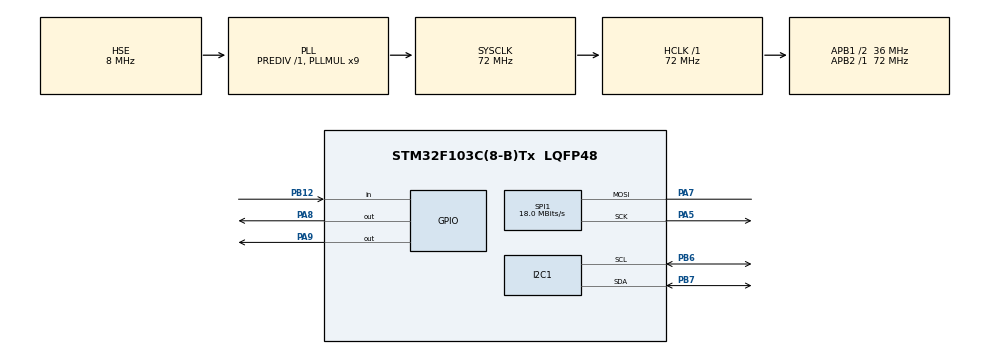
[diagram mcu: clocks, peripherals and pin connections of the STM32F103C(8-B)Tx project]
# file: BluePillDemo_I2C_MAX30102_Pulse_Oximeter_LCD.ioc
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Dma.Request0=SPI1_TX
Dma.SPI1_TX.0.Direction=DMA_MEMORY_TO_PERIPH
Dma.SPI1_TX.0.Instance=DMA1_Channel3
Dma.SPI1_TX.0.MemDataAlignment=DMA_MDATAALIGN_BYTE
Dma.SPI1_TX.0.MemInc=DMA_MINC_ENABLE
Dma.SPI1_TX.0.Mode=DMA_NORMAL
Dma.SPI1_TX.0.PeriphDataAlignment=DMA_PDATAALIGN_BYTE
Dma.SPI1_TX.0.PeriphInc=DMA_PINC_DISABLE
Dma.SPI1_TX.0.Priority=DMA_PRIORITY_LOW
I2C1.I2C_Mode=I2C_Fast
Mcu.Family=STM32F1
Mcu.Name=STM32F103C(8-B)Tx
Mcu.Package=LQFP48
NVIC.DMA1_Channel3_IRQn=true\:0\:0\:false\:false\:true\:false\:true
NVIC.PriorityGroup=NVIC_PRIORITYGROUP_4
PA13.Mode=Serial_Wire
PA13.Signal=SYS_JTMS-SWDIO
PA14.Mode=Serial_Wire
PA14.Signal=SYS_JTCK-SWCLK
PA5.Mode=Simplex_Bidirectional_Master
PA5.Signal=SPI1_SCK
PA7.Mode=Simplex_Bidirectional_Master
PA7.Signal=SPI1_MOSI
PA8.GPIO_Speed=GPIO_SPEED_FREQ_HIGH
PA8.Signal=GPIO_Output
PA9.GPIO_Speed=GPIO_SPEED_FREQ_HIGH
PA9.Signal=GPIO_Output
PB12.Signal=GPIO_Input
PB6.Mode=I2C
PB6.Signal=I2C1_SCL
PB7.Mode=I2C
PB7.Signal=I2C1_SDA
PC14-OSC32_IN.Mode=LSE-External-Oscillator
PC14-OSC32_IN.Signal=RCC_OSC32_IN
PC15-OSC32_OUT.Mode=LSE-External-Oscillator
PC15-OSC32_OUT.Signal=RCC_OSC32_OUT
PD0-OSC_IN.Mode=HSE-External-Oscillator
PD0-OSC_IN.Signal=RCC_OSC_IN
PD1-OSC_OUT.Mode=HSE-External-Oscillator
PD1-OSC_OUT.Signal=RCC_OSC_OUT
ProjectManager.HeapSize=0x200
ProjectManager.StackSize=0x400
ProjectManager.TargetToolchain=STM32CubeIDE
RCC.AHBFreq_Value=72000000
RCC.APB1CLKDivider=RCC_HCLK_DIV2
RCC.APB1Freq_Value=36000000
RCC.APB1TimFreq_Value=72000000
RCC.APB2Freq_Value=72000000
RCC.APB2TimFreq_Value=72000000
RCC.HCLKFreq_Value=72000000
RCC.PLLMUL=RCC_PLL_MUL9
RCC.PLLSourceVirtual=RCC_PLLSOURCE_HSE
RCC.SYSCLKFreq_VALUE=72000000
RCC.SYSCLKSource=RCC_SYSCLKSOURCE_PLLCLK
RCC.USBFreq_Value=72000000
SPI1.BaudRatePrescaler=SPI_BAUDRATEPRESCALER_4
SPI1.CLKPolarity=SPI_POLARITY_HIGH
SPI1.CalculateBaudRate=18.0 MBits/s
SPI1.Direction=SPI_DIRECTION_1LINE
SPI1.Mode=SPI_MODE_MASTER
SPI1.VirtualType=VM_MASTER
board=custom

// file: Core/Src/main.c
/* USER CODE BEGIN Header */
/**
  ******************************************************************************
  * @file           : main.c
  * @brief          : Main program body
  ******************************************************************************
  * @attention
  *
  * <h2><center>&copy; Copyright (c) 2020 STMicroelectronics.
  * All rights reserved.</center></h2>
  *
  * This software component is licensed by ST under BSD 3-Clause license,
  * the "License"; You may not use this file except in compliance with the
  * License. You may obtain a copy of the License at:
  *                        opensource.org/licenses/BSD-3-Clause
  *
  ******************************************************************************
  */
/* USER CODE END Header */

#include "main.h"

/* USER CODE BEGIN Includes */
#include <stdbool.h>
#include <stdint.h>
#include <string.h>
#include "MAX30102.h"
#include "printf.h"
#include "algorithm_by_RF.h"
#include "graphics.h"

/* USER CODE END Includes */

/* USER CODE BEGIN PM */
#define MAX_HEART_BEAT_TRACE 		140.0f
#define MY_SNPRINTF 		snprintf	// newlib snprintf with float support is too heavy and not threadsafe so using local snprintf from printf.c
										// but this causes a compile warning that float support is off so use this macro to prevent it
#define FAKE_MAX30102_CLONE				// if you have a fake Chinese cloned MAX30102 define this

/* USER CODE END PM */

I2C_HandleTypeDef hi2c1;

SPI_HandleTypeDef hspi1;
DMA_HandleTypeDef hdma_spi1_tx;

/* USER CODE BEGIN PV */
static uint32_t aun_ir_buffer[BUFFER_SIZE]; //infrared LED sensor data
static uint32_t aun_red_buffer[BUFFER_SIZE];  //red LED sensor data

/* USER CODE END PV */

void SystemClock_Config(void);
static void MX_GPIO_Init(void);
static void MX_DMA_Init(void);
static void MX_I2C1_Init(void);
static void MX_SPI1_Init(void);
/* USER CODE BEGIN PFP */
static void Max30102Setup(void);
static void Max30102Loop(void);

/* USER CODE END PFP */

/* USER CODE BEGIN 0 */
void Max30102Setup()
{
  uint8_t uch_dummy;

  maxim_max30102_reset();
  maxim_max30102_read_reg(REG_INTR_STATUS_1, &uch_dummy);  // reads/clears the interrupt status register
  maxim_max30102_init();
}

// Takes samples from MAX30102.  Heart rate and SpO2 are calculated every ST seconds
void Max30102Loop()
{
  char buf[20];
  float n_spo2;
  float ratio;
  float correl;
  int8_t ch_spo2_valid;  				// indicator to show if the SPO2 calculation is valid
  int32_t n_heart_rate; 				// heart rate value
  int8_t  ch_hr_valid;  				// indicator to show if the heart rate calculation is valid
  uint8_t i;
  static uint32_t un_min = 0x3FFFFUL;
  static uint32_t un_max = 0UL;
  static uint32_t un_prev_data = 0UL;  	// variables to calculate the on-board LED brightness that reflects the heartbeats
  static float f_heartbeatTrace = 0UL;
  float f_temp;

  static int16_t x = 1;
  static int16_t lastY = 35;

  // buffer length of BUFFER_SIZE stores ST seconds of samples running at FS sps
  for (i = 0U; i < BUFFER_SIZE; i++)
  {
	while (HAL_GPIO_ReadPin(GPIOB, GPIO_PIN_12) == GPIO_PIN_SET);	// wait until the interrupt pin asserts

#ifdef FAKE_MAX30102_CLONE
    maxim_max30102_read_fifo((aun_ir_buffer + i), (aun_red_buffer + i));  // read from MAX30102 FIFO
#else
    maxim_max30102_read_fifo((aun_red_buffer + i), (aun_ir_buffer + i));  // read from MAX30102 FIFO
#endif
    // calculate LED brightness
    if (aun_red_buffer[i] > un_prev_data)
    {
      f_temp = aun_red_buffer[i] - un_prev_data;
      f_temp /= (un_max - un_min);
      f_temp *= MAX_HEART_BEAT_TRACE;
      f_heartbeatTrace -= f_temp;
      if (f_heartbeatTrace < -25.0f)
      {
        f_heartbeatTrace = -25.0f;
      }
    }
    else
    {
	  f_temp = un_prev_data - aun_red_buffer[i];
	  f_temp /= (un_max - un_min);
	  f_temp *= MAX_HEART_BEAT_TRACE;
	  f_heartbeatTrace += f_temp;
	  if (f_heartbeatTrace > MAX_HEART_BEAT_TRACE + 25.0f)
	  {
		f_heartbeatTrace = MAX_HEART_BEAT_TRACE + 25.0f;
	  }
    }

    GraphicsLine(x, 210 - lastY, x + 3, 210 - ((int16_t)f_heartbeatTrace + 30), RED);
    lastY = (int16_t)f_heartbeatTrace + 30;
    x += 3;
    if (x == 238)
    {
    	GraphicsFilledRectangle(1, 1, 238, 208, BLACK);
    	x = 1;
    }
    un_prev_data = aun_red_buffer[i];
  }

  un_min = 0x3FFFFUL;
  un_max = 0UL;
  for (i = 0U; i < BUFFER_SIZE; i++)
  {
    if (un_min > aun_red_buffer[i])
    {
      un_min = aun_red_buffer[i];    //update signal min for next cycle using values from this cycle
    }
    if (un_max < aun_red_buffer[i])
    {
      un_max = aun_red_buffer[i];    //update signal max for next cycle using values from this cycle
    }
  }

  // calculate heart rate and SpO2 after BUFFER_SIZE samples (ST seconds of samples) using Robert's method
  rf_heart_rate_and_oxygen_saturation(aun_ir_buffer, BUFFER_SIZE, aun_red_buffer, &n_spo2, &ch_spo2_valid, &n_heart_rate, &ch_hr_valid, &ratio, &correl);

  // display results
  GraphicsFilledRectangle(10, 212, 229, 28, BLACK);
  if (ch_hr_valid && ch_spo2_valid)
  {
    MY_SNPRINTF(buf, (size_t)20, "SpO2 %3.1f%%", n_spo2);
    GraphicsLargeString(10, 212, buf, GREEN);
    snprintf(buf, (size_t)20, "Heart rate %d b/m", n_heart_rate);
    GraphicsLargeString(10, 227, buf, GREEN);
  }
  else
  {
	  GraphicsLargeString(10, 220, "Not valid", RED);
  }
}

/* USER CODE END 0 */

int main(void)
{

  /* MCU Configuration--------------------------------------------------------*/

  /* Reset of all peripherals, Initializes the Flash interface and the Systick. */
  HAL_Init();

  /* Configure the system clock */
  SystemClock_Config();

  /* Initialize all configured peripherals */
  MX_GPIO_Init();
  MX_DMA_Init();
  MX_I2C1_Init();
  MX_SPI1_Init();
  /* USER CODE BEGIN 2 */
  Max30102Setup();
  SPI_1LINE_TX(&hspi1);
  GraphicsInit();
  GraphicsClear(BLACK);
  GraphicsRectangle(0, 0, 240, 210, BLUE);
  GraphicsLargeString(10, 220, "Sampling", BLUE);

  /* USER CODE END 2 */

  /* Infinite loop */
  while (1)
  {

    /* USER CODE BEGIN 3 */
	Max30102Loop();
  }
  /* USER CODE END 3 */
}

void SystemClock_Config(void)
{
  RCC_OscInitTypeDef RCC_OscInitStruct = {0};
  RCC_ClkInitTypeDef RCC_ClkInitStruct = {0};

  /** Initializes the CPU, AHB and APB busses clocks
  */
  RCC_OscInitStruct.OscillatorType = RCC_OSCILLATORTYPE_HSE;
  RCC_OscInitStruct.HSEState = RCC_HSE_ON;
  RCC_OscInitStruct.HSEPredivValue = RCC_HSE_PREDIV_DIV1;
  RCC_OscInitStruct.HSIState = RCC_HSI_ON;
  RCC_OscInitStruct.PLL.PLLState = RCC_PLL_ON;
  RCC_OscInitStruct.PLL.PLLSource = RCC_PLLSOURCE_HSE;
  RCC_OscInitStruct.PLL.PLLMUL = RCC_PLL_MUL9;
  if (HAL_RCC_OscConfig(&RCC_OscInitStruct) != HAL_OK)
  {
    Error_Handler();
  }
  /** Initializes the CPU, AHB and APB busses clocks
  */
  RCC_ClkInitStruct.ClockType = RCC_CLOCKTYPE_HCLK|RCC_CLOCKTYPE_SYSCLK
                              |RCC_CLOCKTYPE_PCLK1|RCC_CLOCKTYPE_PCLK2;
  RCC_ClkInitStruct.SYSCLKSource = RCC_SYSCLKSOURCE_PLLCLK;
  RCC_ClkInitStruct.AHBCLKDivider = RCC_SYSCLK_DIV1;
  RCC_ClkInitStruct.APB1CLKDivider = RCC_HCLK_DIV2;
  RCC_ClkInitStruct.APB2CLKDivider = RCC_HCLK_DIV1;

  if (HAL_RCC_ClockConfig(&RCC_ClkInitStruct, FLASH_LATENCY_2) != HAL_OK)
  {
    Error_Handler();
  }
}

static void MX_I2C1_Init(void)
{

  hi2c1.Instance = I2C1;
  hi2c1.Init.ClockSpeed = 400000;
  hi2c1.Init.DutyCycle = I2C_DUTYCYCLE_2;
  hi2c1.Init.OwnAddress1 = 0;
  hi2c1.Init.AddressingMode = I2C_ADDRESSINGMODE_7BIT;
  hi2c1.Init.DualAddressMode = I2C_DUALADDRESS_DISABLE;
  hi2c1.Init.OwnAddress2 = 0;
  hi2c1.Init.GeneralCallMode = I2C_GENERALCALL_DISABLE;
  hi2c1.Init.NoStretchMode = I2C_NOSTRETCH_DISABLE;
  if (HAL_I2C_Init(&hi2c1) != HAL_OK)
  {
    Error_Handler();
  }

}

static void MX_SPI1_Init(void)
{

  /* SPI1 parameter configuration*/
  hspi1.Instance = SPI1;
  hspi1.Init.Mode = SPI_MODE_MASTER;
  hspi1.Init.Direction = SPI_DIRECTION_1LINE;
  hspi1.Init.DataSize = SPI_DATASIZE_8BIT;
  hspi1.Init.CLKPolarity = SPI_POLARITY_HIGH;
  hspi1.Init.CLKPhase = SPI_PHASE_1EDGE;
  hspi1.Init.NSS = SPI_NSS_SOFT;
  hspi1.Init.BaudRatePrescaler = SPI_BAUDRATEPRESCALER_4;
  hspi1.Init.FirstBit = SPI_FIRSTBIT_MSB;
  hspi1.Init.TIMode = SPI_TIMODE_DISABLE;
  hspi1.Init.CRCCalculation = SPI_CRCCALCULATION_DISABLE;
  hspi1.Init.CRCPolynomial = 10;
  if (HAL_SPI_Init(&hspi1) != HAL_OK)
  {
    Error_Handler();
  }

}

static void MX_DMA_Init(void)
{

  /* DMA controller clock enable */
  __HAL_RCC_DMA1_CLK_ENABLE();

  /* DMA interrupt init */
  /* DMA1_Channel3_IRQn interrupt configuration */
  HAL_NVIC_SetPriority(DMA1_Channel3_IRQn, 0, 0);
  HAL_NVIC_EnableIRQ(DMA1_Channel3_IRQn);

}

static void MX_GPIO_Init(void)
{
  GPIO_InitTypeDef GPIO_InitStruct = {0};

  /* GPIO Ports Clock Enable */
  __HAL_RCC_GPIOC_CLK_ENABLE();
  __HAL_RCC_GPIOD_CLK_ENABLE();
  __HAL_RCC_GPIOA_CLK_ENABLE();
  __HAL_RCC_GPIOB_CLK_ENABLE();

  /*Configure GPIO pin Output Level */
  HAL_GPIO_WritePin(GPIOA, GPIO_PIN_8|GPIO_PIN_9, GPIO_PIN_RESET);

  /*Configure GPIO pin : PB12 */
  GPIO_InitStruct.Pin = GPIO_PIN_12;
  GPIO_InitStruct.Mode = GPIO_MODE_INPUT;
  GPIO_InitStruct.Pull = GPIO_NOPULL;
  HAL_GPIO_Init(GPIOB, &GPIO_InitStruct);

  /*Configure GPIO pins : PA8 PA9 */
  GPIO_InitStruct.Pin = GPIO_PIN_8|GPIO_PIN_9;
  GPIO_InitStruct.Mode = GPIO_MODE_OUTPUT_PP;
  GPIO_InitStruct.Pull = GPIO_NOPULL;
  GPIO_InitStruct.Speed = GPIO_SPEED_FREQ_HIGH;
  HAL_GPIO_Init(GPIOA, &GPIO_InitStruct);

}

void Error_Handler(void)
{
}

/************************ (C) COPYRIGHT STMicroelectronics *****END OF FILE****/
